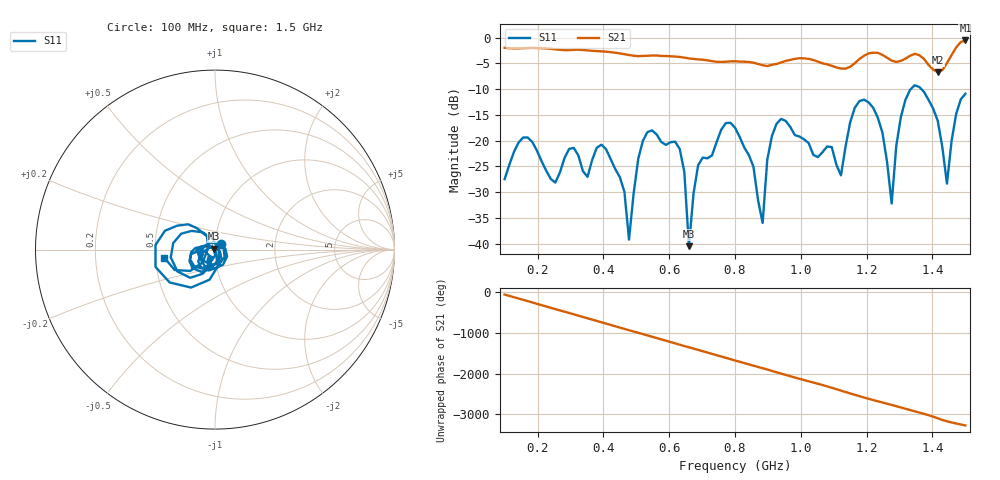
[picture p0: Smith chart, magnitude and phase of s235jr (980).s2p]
! NanoVNA-App
! Date: 2025-09-25 15:11:48
! Start: 100MHz Stop: 1,5GHz Points: 101
! S-Parameter data: F S11 S21 S12 S22
# Hz S RI R 50
!  Frequency  S11_Real  S11_Imag  S21_Real  S21_Imag  S12_Real  S12_Imag  S22_Real  S22_Imag
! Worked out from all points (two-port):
!   101 points, 100 MHz to 1.5 GHz, reference 50 ohm
!   highest |S21| = -0.54 dB at 1.5 GHz (marker M1); lowest = -6.7 dB at 1.416 GHz (marker M2)
!   |S21| within 3 dB of the highest: start of sweep to 498.6 MHz; 1.191 GHz to 1.253 GHz (61.59 MHz wide, 5.04 % of centre) (the widest 2 of 5)
!   lowest |S11| = -40.5 dB at 660 MHz (marker M3), VSWR 1.02, Z = 49.2 + j0.512 ohm
!   |S11| at or under -10 dB: start of sweep to 1.334 GHz; 1.366 GHz to end of sweep
!   S12 and S22 are empty: the file has one direction only
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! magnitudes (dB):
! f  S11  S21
! 100 MHz  -27.5  -2.0
! 156 MHz  -19.4  -2.0
! 338 MHz  -25.9  -2.4
! 408 MHz  -21.6  -2.7
! 478 MHz  -39.2  -3.4
! 520 MHz  -20.0  -3.5
! 576 MHz  -20.3  -3.5
! 632 MHz  -21.6  -3.7
! 660 MHz  -40.5  -4.0
! 688 MHz  -24.8  -4.2
! 800 MHz  -17.5  -4.6
! 884 MHz  -36.0  -5.4
! 926 MHz  -16.8  -5.1
! 1.038 GHz  -22.8  -4.3
! 1.122 GHz  -26.7  -6.0
! 1.164 GHz  -13.6  -5.0
! 1.206 GHz  -12.6  -3.0
! 1.276 GHz  -32.2  -4.5
! 1.332 GHz  -10.1  -3.5
! 1.416 GHz  -16.1  -6.7
! 1.444 GHz  -28.3  -4.9
! 1.5 GHz  -10.9  -0.5
